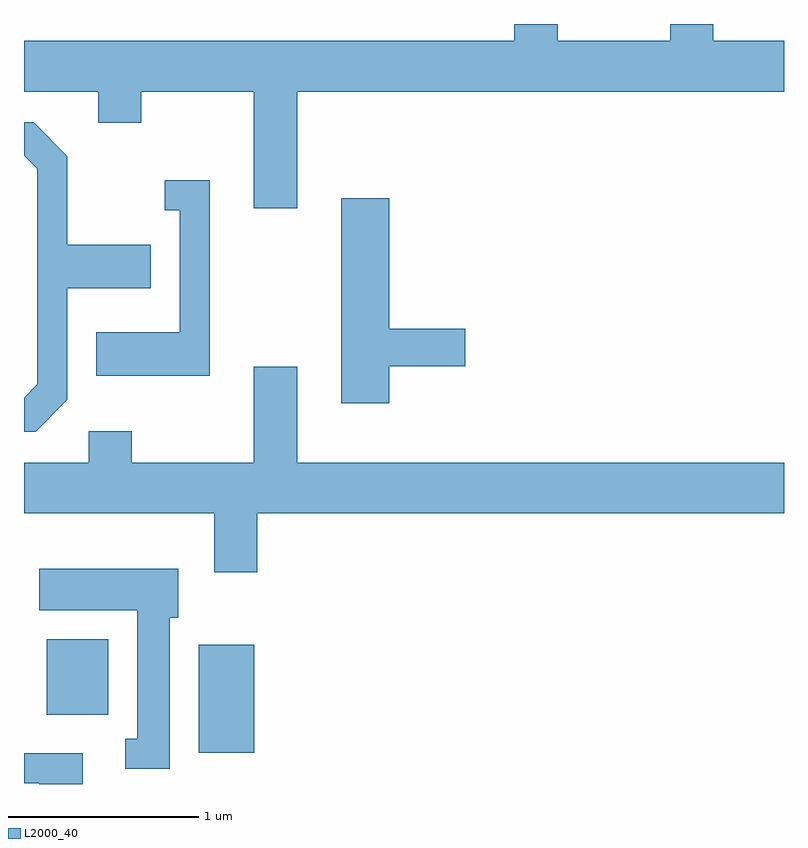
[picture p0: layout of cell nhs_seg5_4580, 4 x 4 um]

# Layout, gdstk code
import gdstk
lib = gdstk.Library(unit=1e-6, precision=1e-09)
def R(c, l, rs):  # rectangles x0, y0, x1, y1
    for r in rs: c.add(gdstk.rectangle(r[:2], r[2:], *l))
def P(c, l, *ps):  # polygons
    for p in ps: c.add(gdstk.Polygon(p, *l))
L2000_40 = (2000, 40)

nhs_seg5_4580 = lib.new_cell('nhs_seg5_4580')
R(nhs_seg5_4580, L2000_40, [(322.531,1422.236,322.824,1422.804), (321.731,1422.436,322.054,1422.834)])
P(nhs_seg5_4580, L2000_40, [(321.611,1425.716),(322.001,1425.716),(322.001,1425.551),(322.229,1425.551),(322.229,1425.716),(322.821,1425.716),(322.821,1425.101),(323.049,1425.101),(323.049,1425.716),(325.611,1425.716),(325.611,1425.984),(325.239,1425.984),(325.239,1426.072),(325.011,1426.072),(325.011,1425.984),(324.419,1425.984),(324.419,1426.072),(324.191,1426.072),(324.191,1425.984),(321.611,1425.984)],
  [(321.839,1424.094),(321.839,1424.681),(322.279,1424.681),(322.279,1424.909),(321.839,1424.909),(321.839,1425.377),(321.662,1425.554),(321.611,1425.554),(321.611,1425.379),(321.681,1425.309),(321.681,1424.177),(321.611,1424.106),(321.611,1423.926),(321.672,1423.926)],
  [(322.589,1425.249),(322.353,1425.249),(322.353,1425.091),(322.431,1425.091),(322.431,1424.449),(321.991,1424.449),(321.991,1424.221),(322.589,1424.221)],
  [(323.534,1424.271),(323.934,1424.271),(323.934,1424.469),(323.534,1424.469),(323.534,1425.154),(323.281,1425.154),(323.281,1424.076),(323.534,1424.076)],
  [(322.839,1423.496),(325.611,1423.496),(325.611,1423.764),(323.049,1423.764),(323.049,1424.269),(322.821,1424.269),(322.821,1423.764),(322.179,1423.764),(322.179,1423.929),(321.951,1423.929),(321.951,1423.764),(321.611,1423.764),(321.611,1423.496),(322.611,1423.496),(322.611,1423.186),(322.839,1423.186)],
  [(322.379,1422.946),(322.424,1422.946),(322.424,1423.204),(321.691,1423.204),(321.691,1422.986),(322.206,1422.986),(322.206,1422.309),(322.143,1422.309),(322.143,1422.151),(322.379,1422.151)],
  [(321.919,1422.234),(321.611,1422.234),(321.611,1422.076),(321.691,1422.076),(321.691,1422.072),(321.919,1422.072)])

lib.write_gds('nhs_seg5_4580.gds')
